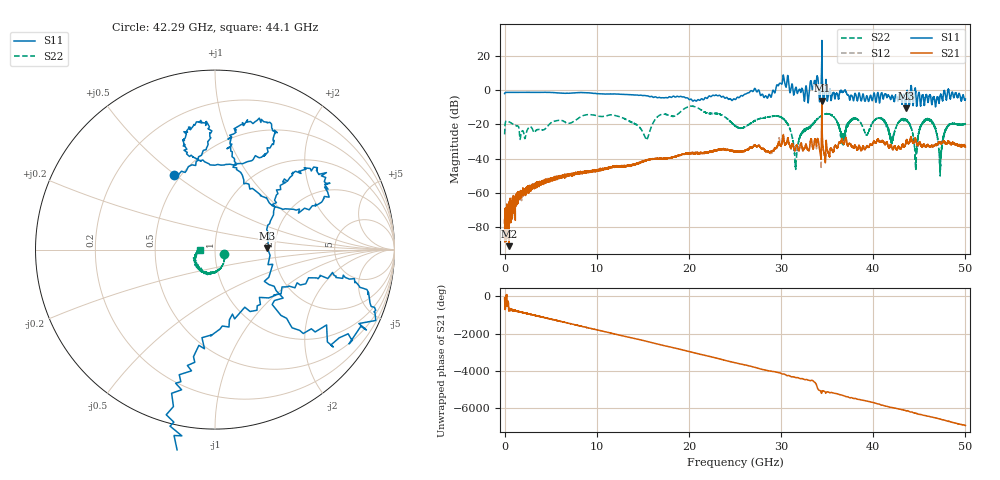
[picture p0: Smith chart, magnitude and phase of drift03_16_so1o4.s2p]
!Created with skrf (http://scikit-rf.org).
# Hz S RI R 50.0
!freq ReS11 ImS11 ReS21 ImS21 ReS12 ImS12 ReS22 ImS22
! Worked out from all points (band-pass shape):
!   10000 points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, 5.3 MHz to 50 GHz, reference 50 ohm
!   highest |S21| = -6.26 dB at 34.43 GHz (marker M1); lowest = -91.0 dB at 490.3 MHz (marker M2)
!   |S21| within 3 dB of the highest: 34.42759 GHz to 34.4348 GHz (7.207 MHz wide, 0.0209 % of centre)
!   lowest |S11| = -10.7 dB at 43.53 GHz (marker M3), VSWR 1.82, Z = 91.2 + j1.78 ohm
!   |S11| at or under -10 dB: 43.49768 GHz to 43.54192 GHz (44.24 MHz wide, 0.102 % of centre)
!   |S22| runs from -50.1 to -9.4 dB; largest |S21 - S12| = 0.14
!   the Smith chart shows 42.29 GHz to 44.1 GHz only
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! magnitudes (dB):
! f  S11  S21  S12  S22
! 5.3 MHz  -2.1  -77.4  -74.9  -25.9
! 490.3 MHz  -1.4  -91.0  -78.3  -18.5
! 2.195 GHz  -1.3  -60.1  -59.1  -28.3
! 8.34 GHz  -1.5  -47.9  -48.0  -15.4
! 15.39 GHz  -3.5  -41.0  -41.0  -28.6
! 16.67 GHz  -4.4  -40.1  -40.0  -15.3
! 20.43 GHz  -6.5  -36.7  -36.8  -9.5
! 25.01 GHz  -5.5  -35.9  -36.1  -20.9
! 29.95 GHz  3.9  -32.7  -32.2  -15.7
! 31.61 GHz  1.5  -33.4  -33.6  -44.7
! 33.34 GHz  2.6  -30.1  -30.6  -20.3
! 34.43 GHz  28.9  -6.3  -8.0  -14.5
! 36.69 GHz  -1.3  -29.8  -29.8  -27.4
! 37.95 GHz  -3.7  -32.7  -32.7  -16.3
! 41.67 GHz  -3.2  -33.5  -33.3  -23.6
! 43.53 GHz  -10.7  -31.5  -31.4  -17.0
! 44.61 GHz  -1.2  -29.0  -28.9  -43.2
! 45.27 GHz  -4.0  -32.8  -33.3  -19.6
! 46.28 GHz  -5.6  -33.1  -32.6  -17.6
! 47.28 GHz  -3.0  -30.7  -30.8  -47.6
! 48.12 GHz  0.2  -30.9  -30.3  -20.4
! 50 GHz  -5.3  -33.3  -32.4  -19.7
